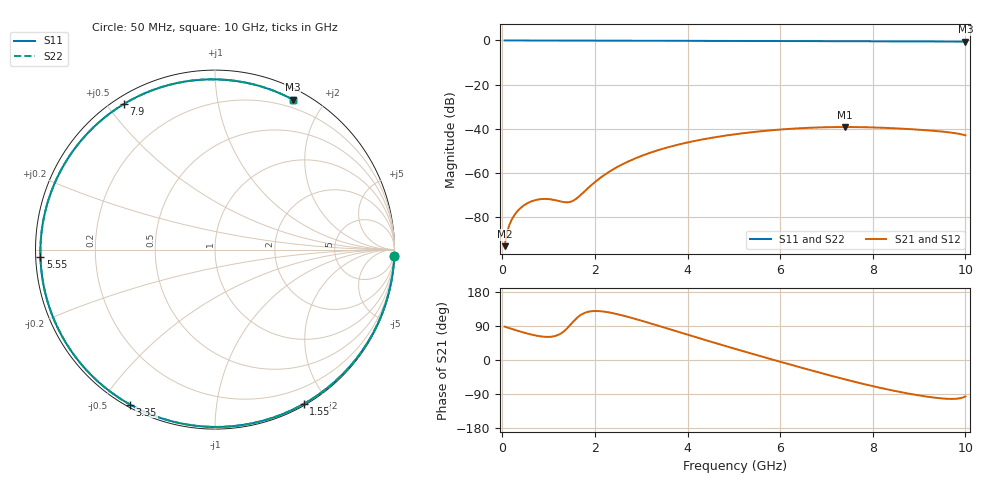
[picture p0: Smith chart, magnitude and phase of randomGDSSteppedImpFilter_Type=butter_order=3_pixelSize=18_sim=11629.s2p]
! freq	dB(S11)	phase(S11)	dB(S12)	phase(S12)
!  dB(S21)	phase(S21)	dB(S22)	phase(S22)
!S-par simulation data
#  GHz  S  DB  R 50
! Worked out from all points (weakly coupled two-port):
!   200 points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, 50 MHz to 10 GHz, reference 50 ohm
!   highest |S21| = -39.25 dB at 7.4 GHz (marker M1); lowest = -93.3 dB at 50 MHz (marker M2)
!   lowest |S11| = -0.5 dB at 10 GHz (marker M3), VSWR 33.18, Z = 5.58 + j82.1 ohm
!   |S11| at or under -10 dB: nowhere
!   |S22| runs from -0.5 to 0.0 dB; largest |S21 - S12| = 0
!   S11 on the Smith chart (normalised r, x): 50 MHz: 0, -56; 1.55 GHz: 0.02, -1.73; 3.35 GHz: 0.01, -0.59; 5.55 GHz: 0.01, -0.02; 7.9 GHz: 0.03, +0.55; 10 GHz: 0.11, +1.64
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0.05  -0.00 -2.0  -93.29 88.0  -93.29 88.0  -0.00 -2.0
0.25  -0.01 -10.1  -79.56 80.2  -79.56 80.2  -0.01 -10.1
0.45  -0.02 -18.0  -75.04 72.9  -75.04 72.9  -0.02 -18.0
0.75  -0.04 -29.9  -72.23 63.9  -72.23 63.9  -0.04 -29.9
1  -0.05 -39.5  -71.95 61.0  -71.95 61.0  -0.05 -39.6
1.4  -0.07 -54.6  -73.41 83.5  -73.41 83.5  -0.07 -54.6
1.55  -0.07 -60.1  -72.44 103.6  -72.44 103.6  -0.07 -60.1
1.75  -0.08 -67.3  -68.95 122.8  -68.95 122.8  -0.08 -67.3
2.1  -0.09 -79.4  -62.57 128.9  -62.57 128.9  -0.09 -79.4
2.45  -0.11 -91.0  -57.78 121.9  -57.78 121.9  -0.11 -91.1
3.35  -0.14 -118.8  -49.85 91.1  -49.85 91.1  -0.14 -118.8
3.4  -0.14 -120.2  -49.53 89.3  -49.53 89.3  -0.14 -120.2
4.25  -0.17 -143.9  -45.18 57.6  -45.18 57.6  -0.17 -143.9
5.05  -0.21 -164.9  -42.48 28.6  -42.48 28.6  -0.21 -164.9
5.55  -0.23 -177.6  -41.25 11.0  -41.25 11.0  -0.23 -177.6
6.1  -0.27 168.5  -40.25 -8.0  -40.25 -8.0  -0.27 168.5
6.7  -0.30 153.3  -39.54 -28.4  -39.54 -28.4  -0.30 153.3
7.4  -0.35 135.3  -39.25 -51.1  -39.25 -51.1  -0.35 135.3
7.9  -0.38 122.0  -39.39 -66.2  -39.39 -66.2  -0.38 122.0
8.35  -0.41 109.8  -39.71 -78.5  -39.71 -78.5  -0.41 109.8
9.2  -0.47 85.9  -40.79 -97.2  -40.79 -97.2  -0.47 85.9
10  -0.52 62.5  -43.03 -96.0  -43.03 -96.0  -0.52 62.6
